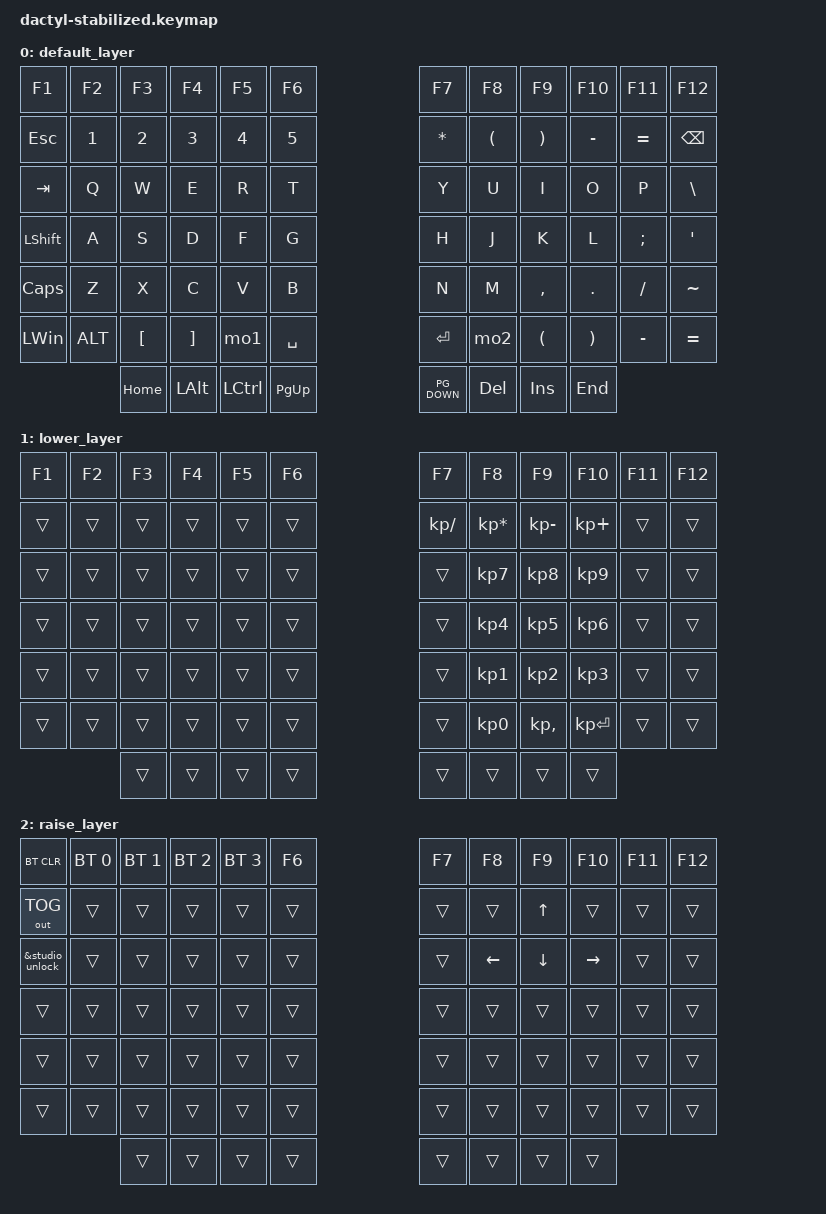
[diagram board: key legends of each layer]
/*
 * Copyright (c) 2020 The ZMK Contributors
 *
 * SPDX-License-Identifier: MIT
 */

 #include <behaviors.dtsi>
 #include <dt-bindings/zmk/keys.h>
 #include <dt-bindings/zmk/bt.h>
 #include <dt-bindings/zmk/outputs.h>
 
 / {
     keymap {
         compatible = "zmk,keymap";
 
         // TODO: SWAP SHIFTED KEYS SOMEHOW
         default_layer {
 // ------------------------------------------------------------------------------------------------------------
 // |  F1   |  F2  |  F3  |  F4   |  F5   |  F6   |  |   F7    |  F8  |  F9   |  F10  |  F11  |  F12  |
 // |  ESC  |  1   |  2   |   3   |  4    |   5   |  |   6     |   7  |   8   |   9   |   0   |  BSPC |
 // |  TAB  |  Q   |  W   |   E   |  R    |   T   |  |   Y     |   U  |   I   |   O   |   P   |   \   |
 // | SHIFT |  A   |  S   |   D   |  F    |   G   |  |   H     |   J  |   K   |   L   |   ;   |   '   |
 // | CAPS  |  Z   |  X   |   C   |  V    |   B   |  |   N     |   M  |   ,   |   .   |   /   |   ~   |
 // | WIN   |  ALT |  {   |   }   |                                   |   (   |   )   |   -   |   +   |  
 //                |  LOWER | SPACE |                                 | ENTER | RAISE | 
 //                               | LCTRL | PG_UP |  | PG_DOWN | DEL  |
 //                               | HOME  | LALT  |  | INSERT  | END  |
 
             bindings = <
 &kp F1     &kp F2   &kp F3   &kp F4   &kp F5     &kp F6                          &kp F7    &kp F8    &kp F9    &kp F10    &kp F11     &kp F12
 &kp ESC    &kp N1   &kp N2   &kp N3   &kp N4     &kp N5                          &kp ASTRK &kp LPAR  &kp RPAR  &kp MINUS  &kp EQUAL   &kp BSPC
 &kp TAB    &kp Q    &kp W    &kp E    &kp R      &kp T                           &kp Y     &kp U     &kp I     &kp O      &kp P       &kp BSLH
 &kp LSHFT  &kp A    &kp S    &kp D    &kp F      &kp G                           &kp H     &kp J     &kp K     &kp L      &kp SEMI    &kp SQT
 &kp CAPS   &kp Z    &kp X    &kp C    &kp V      &kp B                           &kp N     &kp M     &kp COMMA &kp DOT    &kp FSLH    &kp TILDE
 &kp LWIN   &kp ALT  &kp LEFT_BRACKET &kp RIGHT_BRACKET &mo1    &kp SPACE                         &kp ENTER &mo2     &kp LPAR  &kp RPAR   &kp MINUS   &kp EQUAL
                   &kp HOME  &kp LALT &kp LCTRL &kp PG_UP                         &kp PG_DOWN  &kp DEL  &kp INSERT   &kp END
             >;
 
         };
 
         lower_layer {
 // ------------------------------------------------------------------------------------------------------------
 // |  F1 | F2  |  F3  |  F4  |  F5  |   F6   |  |  F7  |  F8   |  F9   |  F10  |  F11  |  F12  |
 // |     |     |      |      |      |        |  |      |   7   |   8   |   9   |       |       |
 // |     |     |      |      |      |        |  |      |   4   |   5   |   6   |   *   |       |
 // |     |     |      |      |      |        |  |      |   1   |   2   |   3   |   /   |       |
 // |     |     |      |      |      |        |  |      |       |       |       |   0   |   .   |
 // |     |     |      |      |      |        |  |      |       |       |       |       |       |
 // |     |     |      |      |                                 |       |       |       |       |
 //                    |      |      |                   |      |       |
 //                           |      |        |  |       |      |
 //                           |      |        |  |       |      |
 //

             bindings = <
&kp F1     &kp F2    &kp F3    &kp F4    &kp F5     &kp F6        &kp F7         &kp F8            &kp F9        &kp F10       &kp F11    &kp F12
                &trans     &trans    &trans    &trans    &trans     &trans        &kp KP_DIVIDE  &kp KP_MULTIPLY   &kp KP_MINUS  &kp KP_PLUS   &trans     &trans
                &trans     &trans    &trans    &trans    &trans     &trans        &trans         &kp KP_N7         &kp KP_N8     &kp KP_N9     &trans     &trans
                &trans     &trans    &trans    &trans    &trans     &trans        &trans         &kp KP_N4         &kp KP_N5     &kp KP_N6     &trans     &trans
                &trans     &trans    &trans    &trans    &trans     &trans        &trans         &kp KP_N1         &kp KP_N2     &kp KP_N3     &trans     &trans
                &trans     &trans    &trans    &trans    &trans     &trans        &trans         &kp KP_N0         &kp KP_COMMA  &kp KP_ENTER  &trans     &trans
                                     &trans    &trans    &trans     &trans        &trans         &trans            &trans        &trans
               >;
         };
 
         raise_layer {
 // ------------------------------------------------------------------------------------------------------------
 // |  F1 | F2  |  F3  |  F4  |  F5  |   F6   |  |  F7  |  F8  |  F9   |  F10  |  F11  |  F12  |
 // |     |     |      |      |      |        |  |      |      |   ^   |       |       |       |
 // |     |     |      |      |      |        |  |      |  <   |   v   |   >   |       |       |
 // |     |     |      |      |      |        |  |      |      |       |       |       |       |
 // |     |     |      |      |      |        |  |      |      |       |       |       |       |
 // |     |     |      |      |                                |       |       |       |       |
 //                    |      |      |                  |      |       |
 //                           |      |        |  |      |      |
 //                           |      |        |  |      |      |
             bindings = <
 &bt BT_CLR   &bt BT_SEL 0 &bt BT_SEL 1 &bt BT_SEL 2 &bt BT_SEL 3 &kp F6                                                     &kp F7    &kp F8    &kp F9    &kp F10   &kp F11   &kp F12
 &out OUT_TOG &trans       &trans       &trans       &trans       &trans                                                     &trans    &trans    &kp UP    &trans    &trans    &trans
 &&studio_unlock       &trans       &trans       &trans       &trans       &trans                                                     &trans    &kp LEFT  &kp DOWN  &kp RIGHT &trans    &trans
 &trans       &trans       &trans       &trans       &trans       &trans                                                     &trans    &trans    &trans    &trans    &trans    &trans
 &trans       &trans       &trans       &trans       &trans       &trans                                                     &trans    &trans    &trans    &trans    &trans    &trans
 &trans       &trans       &trans       &trans       &trans       &trans                                                     &trans    &trans    &trans    &trans    &trans    &trans    
                           &trans       &trans       &trans       &trans                                                     &trans    &trans    &trans    &trans
             >;
         };
     };
 };
